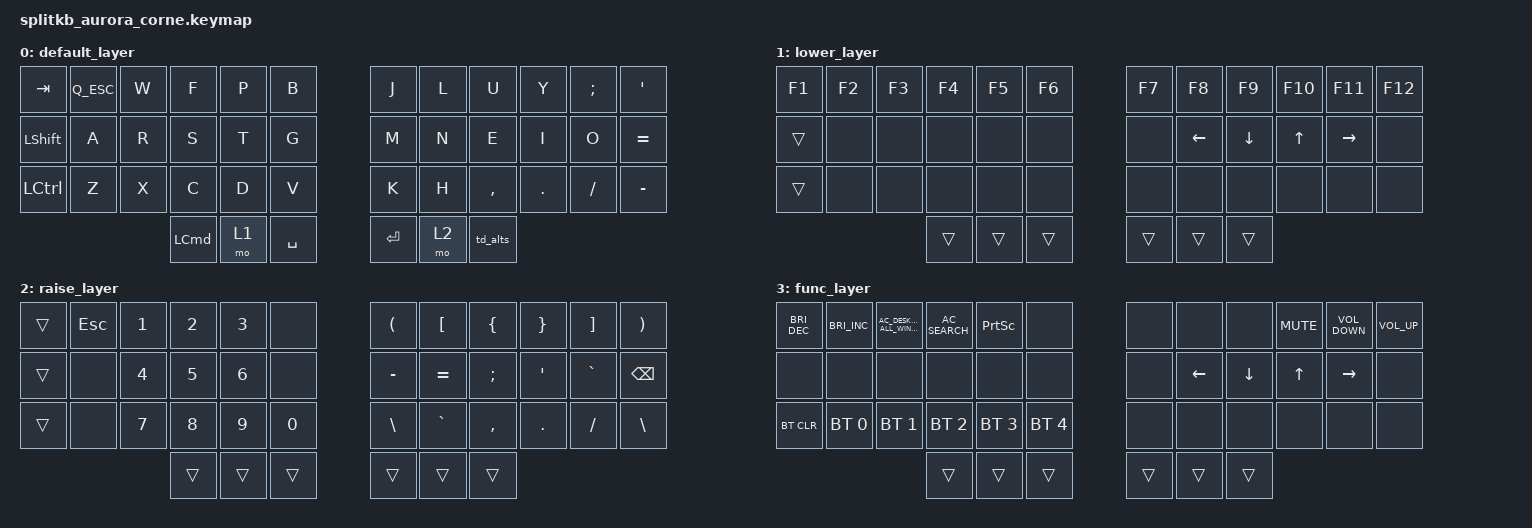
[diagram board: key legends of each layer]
/*
 * Copyright (c) 2020 The ZMK Contributors
 *
 * SPDX-License-Identifier: MIT
 */

#include <behaviors.dtsi>
#include <dt-bindings/zmk/bt.h>
#include <dt-bindings/zmk/keys.h>

/ {
    behaviors {
        td_alts: tap_dance_alts {
            compatible = "zmk,behavior-tap-dance";
            label = "TAP_DANCE_ALTS";
            #binding-cells = <0>;
            bindings = <&kp LALT>, <&kp RALT>;
        };

        Q_ESC: Q_ESC {
            compatible = "zmk,behavior-tap-dance";
            label = "Q_ESC";
            #binding-cells = <0>;
            bindings = <&kp Q>, <&kp ESC>;

            tapping-term-ms = <250>;
        };
    };

    keymap {
        compatible = "zmk,keymap";

        default_layer {
            bindings = <
&kp TAB         &Q_ESC  &kp W  &kp F             &kp P  &kp B        &kp J      &kp L  &kp U      &kp Y    &kp SEMI  &kp SQT
&kp LEFT_SHIFT  &kp A   &kp R  &kp S             &kp T  &kp G        &kp M      &kp N  &kp E      &kp I    &kp O     &kp EQUAL
&kp LCTRL       &kp Z   &kp X  &kp C             &kp D  &kp V        &kp K      &kp H  &kp COMMA  &kp DOT  &kp FSLH  &kp MINUS
                               &kp LEFT_COMMAND  &mo 1  &kp SPACE    &kp ENTER  &mo 2  &td_alts
            >;
        };

        lower_layer {
            bindings = <
&kp F1  &kp F2  &kp F3  &kp F4  &kp F5  &kp F6    &kp F7  &kp F8    &kp F9    &kp F10  &kp F11    &kp F12
&trans  &none   &none   &none   &none   &none     &none   &kp LEFT  &kp DOWN  &kp UP   &kp RIGHT  &none
&trans  &none   &none   &none   &none   &none     &none   &none     &none     &none    &none      &none
                        &trans  &trans  &trans    &trans  &trans    &trans
            >;
        };

        raise_layer {
            bindings = <
&trans  &kp ESC  &kp N1  &kp N2  &kp N3  &none     &kp LEFT_PARENTHESIS  &kp LBKT   &kp LEFT_BRACE  &kp RIGHT_BRACE  &kp RIGHT_BRACKET  &kp RIGHT_PARENTHESIS
&trans  &none    &kp N4  &kp N5  &kp N6  &none     &kp MINUS             &kp EQUAL  &kp SEMI        &kp SQT          &kp GRAVE          &kp BSPC
&trans  &none    &kp N7  &kp N8  &kp N9  &kp N0    &kp BSLH              &kp GRAVE  &kp COMMA       &kp DOT          &kp FSLH           &kp BSLH
                         &trans  &trans  &trans    &trans                &trans     &trans
            >;
        };

        func_layer {
            bindings = <
&kp C_BRIGHTNESS_DEC  &kp C_BRIGHTNESS_INC  &kp C_AC_DESKTOP_SHOW_ALL_WINDOWS  &kp C_AC_SEARCH  &kp PRINTSCREEN  &none           &none   &none     &none     &kp K_MUTE  &kp C_VOLUME_DOWN  &kp C_VOLUME_UP
&none                 &none                 &none                              &none            &none            &none           &none   &kp LEFT  &kp DOWN  &kp UP      &kp RIGHT          &none
&bt BT_CLR            &bt BT_SEL 0          &bt BT_SEL 1                       &bt BT_SEL 2     &bt BT_SEL 3     &bt BT_SEL 4    &none   &none     &none     &none       &none              &none
                                                                               &trans           &trans           &trans          &trans  &trans    &trans
            >;
        };
    };

    conditional_layers {
        compatible = "zmk,conditional-layers";

        func_layer {
            if-layers = <1 2>;
            then-layer = <3>;
        };
    };
};
